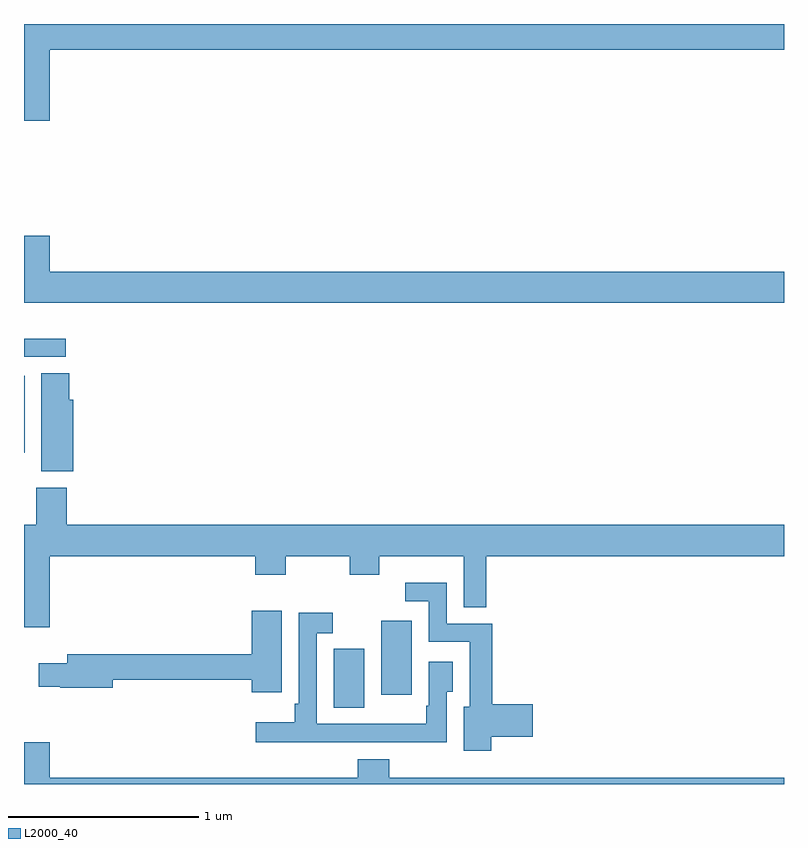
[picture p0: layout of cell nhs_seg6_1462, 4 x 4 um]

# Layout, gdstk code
import gdstk
lib = gdstk.Library(unit=1e-6, precision=1e-09)
def R(c, l, rs):  # rectangles x0, y0, x1, y1
    for r in rs: c.add(gdstk.rectangle(r[:2], r[2:], *l))
def P(c, l, *ps):  # polygons
    for p in ps: c.add(gdstk.Polygon(p, *l))
L2000_40 = (2000, 40)

nhs_seg6_1462 = lib.new_cell('nhs_seg6_1462')
R(nhs_seg6_1462, L2000_40, [(202.631,915.901,202.792,916.212), (202.88,915.971,203.041,916.36), (201,917.243,201.004,917.65), (201,917.748,201.22,917.844)])
P(nhs_seg6_1462, L2000_40, [(201.136,919.364),(205,919.364),(205,919.5),(201,919.5),(201,918.99),(201.136,918.99)],
  [(205,918.196),(201.136,918.196),(201.136,918.385),(201,918.385),(201,918.032),(205,918.032)],
  [(201.26,917.523),(201.239,917.523),(201.239,917.663),(201.092,917.663),(201.092,917.147),(201.26,917.147)],
  [(201.136,916.7),(202.217,916.7),(202.217,916.601),(202.377,916.601),(202.377,916.7),(202.714,916.7),(202.714,916.601),(202.869,916.601),(202.869,916.7),(203.315,916.7),(203.315,916.429),(203.434,916.429),(203.434,916.7),(205,916.7),(205,916.864),(201.224,916.864),(201.224,917.059),(201.064,917.059),(201.064,916.864),(201,916.864),(201,916.326),(201.136,916.326)],
  [(203.459,915.749),(203.677,915.749),(203.677,915.92),(203.464,915.92),(203.464,916.344),(203.226,916.344),(203.226,916.558),(203.007,916.558),(203.007,916.461),(203.13,916.461),(203.13,916.248),(203.345,916.248),(203.345,915.907),(203.315,915.907),(203.315,915.675),(203.459,915.675)],
  [(202.357,916.411),(202.199,916.411),(202.199,916.184),(201.227,916.184),(201.227,916.135),(201.078,916.135),(201.078,916.013),(201.19,916.013),(201.19,916.006),(201.466,916.006),(201.466,916.048),(202.199,916.048),(202.199,915.984),(202.357,915.984)],
  [(202.639,915.72),(203.005,915.72),(203.005,915.719),(203.226,915.719),(203.226,915.985),(203.257,915.985),(203.257,916.144),(203.13,916.144),(203.13,915.913),(203.118,915.913),(203.118,915.817),(202.888,915.817),(202.888,915.816),(202.542,915.816),(202.542,916.293),(202.624,916.293),(202.624,916.402),(202.446,916.402),(202.446,915.922),(202.426,915.922),(202.426,915.826),(202.221,915.826),(202.221,915.719),(202.639,915.719)],
  [(205,915.532),(202.922,915.532),(202.922,915.631),(202.757,915.631),(202.757,915.532),(201.136,915.532),(201.136,915.721),(201,915.721),(201,915.5),(205,915.5)])

lib.write_gds('nhs_seg6_1462.gds')
